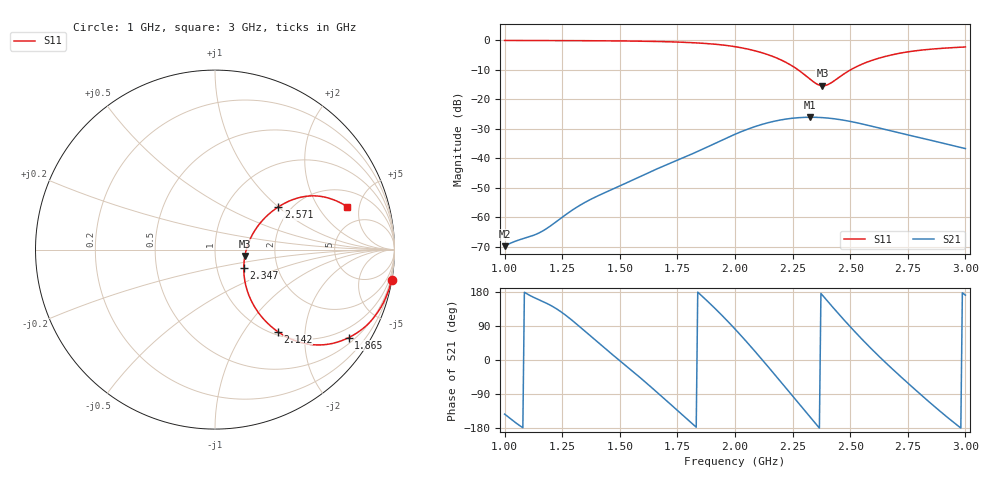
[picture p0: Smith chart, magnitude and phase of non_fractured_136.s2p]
! TOUCHSTONE file generated by CST MICROWAVE STUDIO
! Date and time: Sat Mar  8 13:54:54 2025
! Project name: non_fractured.cst
! Parameters = {B=2.5; D=160; F=20; Feed=2.85625; L=100; M=10; R=0.384908; S=1.5; Theta=270; length=57.125; wave=114.25}
! Header version: 2024
! Port assignment regex: !\s*Touchstone port\s*([0-9]+)\s*=\s*(CST MWS port|CST DES external port|CST DES block port)\s*(.+)\s* \(\"(.*)\"\)(\s*mode\s*([0-9]+))?.*
! Touchstone port assignment:
! Touchstone port 1 = CST MWS port 1 ("")
! Touchstone port 2 = CST MWS port 2 ("")
# GHz S DB R 50
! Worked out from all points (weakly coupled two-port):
!   304 points, 1 GHz to 3 GHz, reference 50 ohm
!   highest |S21| = -26.04 dB at 2.327 GHz (marker M1); lowest = -69.7 dB at 1 GHz (marker M2)
!   lowest |S11| = -15.4 dB at 2.38 GHz (marker M3), VSWR 1.41, Z = 69.7 - j5.12 ohm
!   |S11| at or under -10 dB: 2.274 GHz to 2.501 GHz (226.6 MHz wide, 9.49 % of centre)
!   S12 and S22 are empty: the file has one direction only
!   S11 on the Smith chart (normalised r, x): 1 GHz: 0, -12; 1.865 GHz: 0.67, -3.20; 2.142 GHz: 1.06, -1.44; 2.347 GHz: 1.35, -0.29; 2.571 GHz: 1.72, +1.00; 3 GHz: 3.17, +3.77
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1  -0.02 -9.7  -69.73 -142.7  -200.00 0.0  -200.00 0.0
1.0396  -0.02 -10.3  -68.26 -161.7  -200.00 0.0  -200.00 0.0
1.15842  -0.04 -12.0  -64.88 156.3  -200.00 0.0  -200.00 0.0
1.33663  -0.09 -15.1  -55.43 82.3  -200.00 0.0  -200.00 0.0
1.40924  -0.12 -16.7  -52.51 44.2  -200.00 0.0  -200.00 0.0
1.66667  -0.37 -24.1  -43.37 -88.0  -200.00 0.0  -200.00 0.0
1.86469  -1.00 -33.4  -36.67 164.2  -200.00 0.0  -200.00 0.0
2.0033  -2.16 -42.9  -31.70 79.6  -200.00 0.0  -200.00 0.0
2.07591  -3.31 -48.3  -29.49 30.4  -200.00 0.0  -200.00 0.0
2.14191  -4.81 -52.6  -27.93 -16.4  -200.00 0.0  -200.00 0.0
2.24092  -8.31 -55.3  -26.45 -88.4  -200.00 0.0  -200.00 0.0
2.32673  -13.21 -42.1  -26.04 -151.1  -200.00 0.0  -200.00 0.0
2.33993  -14.00 -36.4  -26.05 -160.6  -200.00 0.0  -200.00 0.0
2.34653  -14.37 -33.1  -26.06 -165.4  -200.00 0.0  -200.00 0.0
2.37954  -15.38 -12.1  -26.17 170.9  -200.00 0.0  -200.00 0.0
2.41254  -14.60 9.0  -26.40 147.6  -200.00 0.0  -200.00 0.0
2.47195  -11.40 28.5  -27.05 106.6  -200.00 0.0  -200.00 0.0
2.51815  -9.27 33.0  -27.74 76.0  -200.00 0.0  -200.00 0.0
2.57096  -7.43 34.0  -28.67 42.4  -200.00 0.0  -200.00 0.0
2.66997  -5.09 31.5  -30.55 -16.3  -200.00 0.0  -200.00 0.0
2.82178  -3.18 24.5  -33.32 -99.6  -200.00 0.0  -200.00 0.0
3  -2.23 17.9  -36.65 171.2  -200.00 0.0  -200.00 0.0
